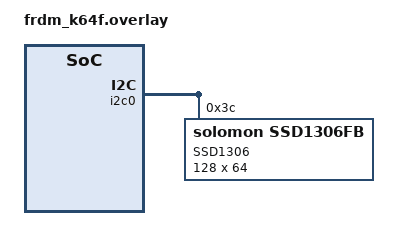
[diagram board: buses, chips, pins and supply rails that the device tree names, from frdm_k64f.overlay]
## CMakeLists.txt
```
# SPDX-License-Identifier: Apache-2.0

cmake_minimum_required(VERSION 3.15.7)

find_package(Zephyr REQUIRED HINTS $ENV{ZEPHYR_BASE})
project(cfb)

FILE(GLOB app_sources src/*.c)
target_sources(app PRIVATE ${app_sources})
```

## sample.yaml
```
common:
  tags: display
sample:
  description: Character framebuffer test
  name: cfb sample
tests:
  sample.display.cfb.ssd1306:
    pre-filter: subsys_dt_compat_enabled("i2c") and dt_label_enabled("arduino_i2c") and not dt_compat_enabled("solomon,ssd16xxfb")
    extra_args: SHIELD=ssd1306_128x64
    tags: shield
    harness: console
    harness_config:
      fixture: shield_ssd1306_128x64
  sample.display.cfb.ssd16xx:
    pre-filter: dt_compat_enabled("solomon,ssd16xxfb")
    harness: display
```

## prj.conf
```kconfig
CONFIG_STDOUT_CONSOLE=y

CONFIG_HEAP_MEM_POOL_SIZE=16384

CONFIG_DISPLAY=y

CONFIG_LOG=y

CONFIG_CFB_LOG_LEVEL_DBG=y
CONFIG_CHARACTER_FRAMEBUFFER=y

CONFIG_SYS_TIMEOUT_LEGACY_API=n
```

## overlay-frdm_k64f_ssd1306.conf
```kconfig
CONFIG_I2C=y
CONFIG_SSD1306=y
CONFIG_SSD1306_SH1106_COMPATIBLE=n
```

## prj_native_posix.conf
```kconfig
CONFIG_HEAP_MEM_POOL_SIZE=16384

CONFIG_DISPLAY=y
CONFIG_SDL_DISPLAY_DEV_NAME="DISPLAY"
CONFIG_SDL_DISPLAY_X_RES=250
CONFIG_SDL_DISPLAY_Y_RES=120

CONFIG_LOG=y

CONFIG_CFB_LOG_LEVEL_DBG=y
CONFIG_CHARACTER_FRAMEBUFFER=y
```

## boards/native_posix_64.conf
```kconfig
CONFIG_SDL_DISPLAY_DEV_NAME="DISPLAY"
CONFIG_SDL_DISPLAY_X_RES=250
CONFIG_SDL_DISPLAY_Y_RES=120
CONFIG_CHARACTER_FRAMEBUFFER_DISPLAY_DEV_NAME="SDL_DISPLAY"
```

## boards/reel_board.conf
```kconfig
CONFIG_SPI=y
CONFIG_SSD16XX=y
CONFIG_CHARACTER_FRAMEBUFFER_DISPLAY_DEV_NAME="SSD16XX"
```

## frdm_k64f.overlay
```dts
/* SPDX-License-Identifier: Apache-2.0 */

&i2c0 {
	status = "okay";

	ssd1306@3c {
		compatible = "solomon,ssd1306fb";
		reg = <0x3c>;
		label = "SSD1306";
		width = <128>;
		height = <64>;
		segment-offset = <0>;
		page-offset = <0>;
		display-offset = <0>;
		segment-remap;
		com-invdir;
		prechargep = <0x22>;
	};
};
```

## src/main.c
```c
/*
 * Copyright (c) 2018 PHYTEC Messtechnik GmbH
 *
 * SPDX-License-Identifier: Apache-2.0
 */

#include <zephyr.h>
#include <device.h>
#include <display/cfb.h>
#include <stdio.h>

#if defined(CONFIG_SSD16XX)
#define DISPLAY_DRIVER		"SSD16XX"
#endif

#if defined(CONFIG_SSD1306)
#define DISPLAY_DRIVER		"SSD1306"
#endif

#ifndef DISPLAY_DRIVER
#define DISPLAY_DRIVER		"DISPLAY"
#endif

void main(void)
{
	const struct device *dev;
	uint16_t rows;
	uint8_t ppt;
	uint8_t font_width;
	uint8_t font_height;

	dev = device_get_binding(DISPLAY_DRIVER);

	if (dev == NULL) {
		printf("Device not found\n");
		return;
	}

	if (display_set_pixel_format(dev, PIXEL_FORMAT_MONO10) != 0) {
		printf("Failed to set required pixel format\n");
		return;
	}

	printf("initialized %s\n", DISPLAY_DRIVER);

	if (cfb_framebuffer_init(dev)) {
		printf("Framebuffer initialization failed!\n");
		return;
	}

	cfb_framebuffer_clear(dev, true);

	display_blanking_off(dev);

	rows = cfb_get_display_parameter(dev, CFB_DISPLAY_ROWS);
	ppt = cfb_get_display_parameter(dev, CFB_DISPLAY_PPT);

	for (int idx = 0; idx < 42; idx++) {
		if (cfb_get_font_size(dev, idx, &font_width, &font_height)) {
			break;
		}
		cfb_framebuffer_set_font(dev, idx);
		printf("font width %d, font height %d\n",
		       font_width, font_height);
	}

	printf("x_res %d, y_res %d, ppt %d, rows %d, cols %d\n",
	       cfb_get_display_parameter(dev, CFB_DISPLAY_WIDTH),
	       cfb_get_display_parameter(dev, CFB_DISPLAY_HEIGH),
	       ppt,
	       rows,
	       cfb_get_display_parameter(dev, CFB_DISPLAY_COLS));

	while (1) {
		for (int i = 0; i < rows; i++) {
			cfb_framebuffer_clear(dev, false);
			if (cfb_print(dev,
				      "0123456789mMgj!\"§$%&/()=",
				      0, i * ppt)) {
				printf("Failed to print a string\n");
				continue;
			}

			cfb_framebuffer_finalize(dev);
#if defined(CONFIG_ARCH_POSIX)
			k_sleep(K_MSEC(100));
#endif
		}
	}
}
```
